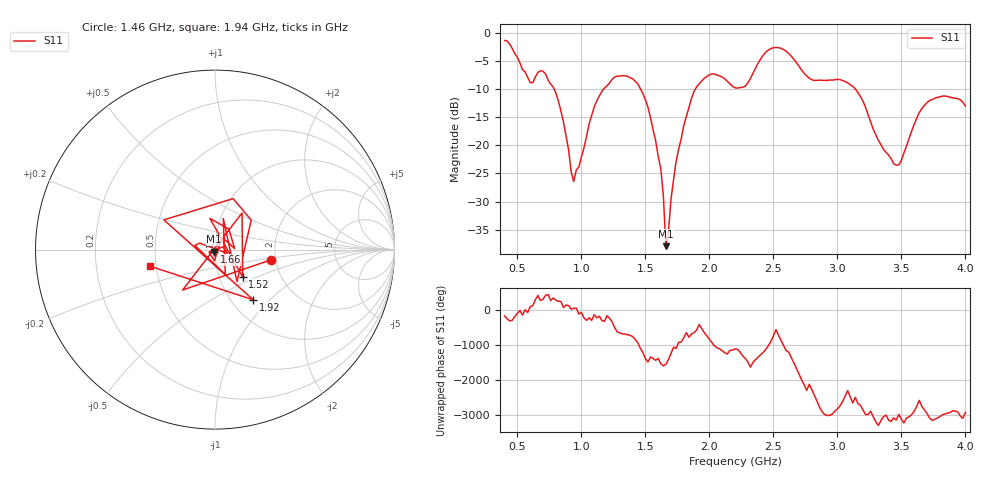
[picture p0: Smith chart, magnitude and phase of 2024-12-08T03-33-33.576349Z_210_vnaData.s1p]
!Created with skrf (http://scikit-rf.org).
# Hz S RI R 50.0
!freq ReS11 ImS11
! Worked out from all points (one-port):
!   181 points, 400 MHz to 4 GHz, reference 50 ohm
!   lowest |S11| = -37.9 dB at 1.66 GHz (marker M1), VSWR 1.03, Z = 49.6 - j1.19 ohm
!   |S11| at or under -10 dB: 786.4 MHz to 1.175 GHz (388.4 MHz wide, 39.6 % of centre); 1.462 GHz to 1.891 GHz (429 MHz wide, 25.6 % of centre); 3.141 GHz to end of sweep
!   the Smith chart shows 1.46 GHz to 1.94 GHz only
!   S11 on the Smith chart (normalised r, x): 1.46 GHz: 1.90, -0.24; 1.52 GHz: 1.29, -0.41; 1.66 GHz: 0.99, -0.02; 1.92 GHz: 1.26, -0.80; 1.94 GHz: 0.46, -0.10
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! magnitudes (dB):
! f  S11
! 400 MHz  -1.4
! 600 MHz  -8.9
! 720 MHz  -7.3
! 860 MHz  -15.9
! 940 MHz  -26.4
! 1.12 GHz  -12.1
! 1.3 GHz  -7.7
! 1.46 GHz  -9.9
! 1.52 GHz  -13.3
! 1.62 GHz  -24.1
! 1.64 GHz  -28.9
! 1.66 GHz  -37.9
! 1.76 GHz  -20.7
! 1.86 GHz  -11.7
! 1.92 GHz  -9.1
! 1.94 GHz  -8.6
! 2.04 GHz  -7.4
! 2.2 GHz  -9.8
! 2.28 GHz  -9.5
! 2.48 GHz  -2.8
! 2.66 GHz  -4.7
! 2.8 GHz  -8.4
! 3.1 GHz  -9.2
! 3.44 GHz  -23.3
! 3.48 GHz  -23.5
! 3.56 GHz  -18.8
! 3.72 GHz  -12.0
! 4 GHz  -13.0
